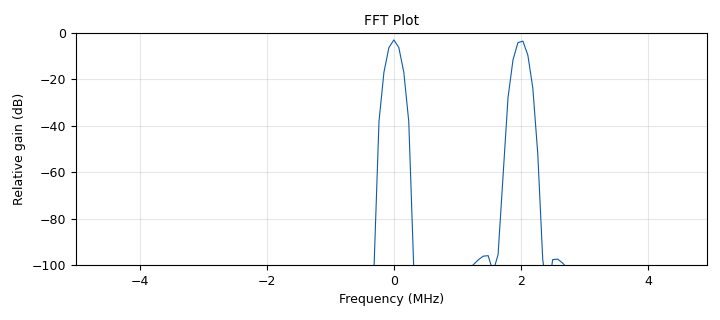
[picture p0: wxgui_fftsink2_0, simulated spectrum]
<?xml version='1.0' encoding='utf-8'?>
<?grc format='1' created='3.7.5'?>
<flow_graph>
<block>
<key>options</key>
<param><key>id</key><value>top_block</value></param>
<param><key>generate_options</key><value>wx_gui</value></param>
<param><key>category</key><value>Custom</value></param>
</block>
<block>
<key>variable</key>
<param><key>id</key><value>samp_rate</value></param>
<param><key>value</key><value>10e6</value></param>
</block>
<block>
<key>analog_sig_source_x</key>
<param><key>id</key><value>analog_sig_source_x_0</value></param>
<param><key>type</key><value>complex</value></param>
<param><key>samp_rate</key><value>samp_rate</value></param>
<param><key>waveform</key><value>analog.GR_COS_WAVE</value></param>
<param><key>freq</key><value>int_freq</value></param>
<param><key>amp</key><value>1</value></param>
<param><key>offset</key><value>0</value></param>
</block>
<block>
<key>analog_sig_source_x</key>
<param><key>id</key><value>analog_sig_source_x_0_0</value></param>
<param><key>type</key><value>complex</value></param>
<param><key>samp_rate</key><value>samp_rate</value></param>
<param><key>waveform</key><value>analog.GR_COS_WAVE</value></param>
<param><key>freq</key><value>100e6</value></param>
<param><key>amp</key><value>1</value></param>
<param><key>offset</key><value>0</value></param>
</block>
<block>
<key>blocks_multiply_xx</key>
<param><key>id</key><value>blocks_multiply_xx_0</value></param>
<param><key>type</key><value>complex</value></param>
</block>
<block>
<key>analog_sig_source_x</key>
<param><key>id</key><value>analog_sig_source_x_0_0_0</value></param>
<param><key>type</key><value>complex</value></param>
<param><key>samp_rate</key><value>samp_rate</value></param>
<param><key>waveform</key><value>analog.GR_COS_WAVE</value></param>
<param><key>freq</key><value>102e6</value></param>
<param><key>amp</key><value>1</value></param>
<param><key>offset</key><value>0</value></param>
</block>
<block>
<key>blocks_add_xx</key>
<param><key>id</key><value>blocks_add_xx_0</value></param>
<param><key>type</key><value>complex</value></param>
</block>
<block>
<key>blocks_throttle</key>
<param><key>id</key><value>blocks_throttle_0</value></param>
<param><key>type</key><value>complex</value></param>
<param><key>samples_per_second</key><value>samp_rate</value></param>
</block>
<block>
<key>wxgui_fftsink2</key>
<param><key>id</key><value>wxgui_fftsink2_0</value></param>
<param><key>type</key><value>complex</value></param>
<param><key>title</key><value>FFT Plot</value></param>
<param><key>samp_rate</key><value>samp_rate</value></param>
<param><key>baseband_freq</key><value>0</value></param>
<param><key>y_per_div</key><value>10</value></param>
<param><key>y_divs</key><value>10</value></param>
<param><key>ref_level</key><value>0</value></param>
<param><key>ref_scale</key><value>2.0</value></param>
<param><key>fft_size</key><value>128</value></param>
<param><key>fft_rate</key><value>15</value></param>
<param><key>peak_hold</key><value>False</value></param>
<param><key>average</key><value>False</value></param>
<param><key>avg_alpha</key><value>0</value></param>
<param><key>win</key><value>None</value></param>
<param><key>freqvar</key><value>None</value></param>
</block>
<block>
<key>variable_slider</key>
<param><key>id</key><value>int_freq</value></param>
<param><key>label</key><value></value></param>
<param><key>value</key><value>50</value></param>
<param><key>min</key><value>0</value></param>
<param><key>max</key><value>40e6</value></param>
<param><key>num_steps</key><value>100</value></param>
<param><key>style</key><value>wx.SL_HORIZONTAL</value></param>
<param><key>converver</key><value>float_converter</value></param>
</block>
<block>
<key>band_pass_filter</key>
<param><key>id</key><value>band_pass_filter_0</value></param>
<param><key>type</key><value>fir_filter_ccf</value></param>
<param><key>decim</key><value>1</value></param>
<param><key>gain</key><value>1</value></param>
<param><key>samp_rate</key><value>samp_rate</value></param>
<param><key>low_cutoff_freq</key><value></value></param>
<param><key>high_cutoff_freq</key><value></value></param>
<param><key>width</key><value></value></param>
<param><key>win</key><value>firdes.WIN_HAMMING</value></param>
</block>
<connection><source_block_id>analog_sig_source_x_0</source_block_id><sink_block_id>blocks_multiply_xx_0</sink_block_id><source_key>0</source_key><sink_key>1</sink_key></connection>
<connection><source_block_id>analog_sig_source_x_0_0</source_block_id><sink_block_id>blocks_multiply_xx_0</sink_block_id><source_key>0</source_key><sink_key>0</sink_key></connection>
<connection><source_block_id>blocks_throttle_0</source_block_id><sink_block_id>wxgui_fftsink2_0</sink_block_id><source_key>0</source_key><sink_key>0</sink_key></connection>
<connection><source_block_id>blocks_multiply_xx_0</source_block_id><sink_block_id>blocks_add_xx_0</sink_block_id><source_key>0</source_key><sink_key>1</sink_key></connection>
<connection><source_block_id>analog_sig_source_x_0_0_0</source_block_id><sink_block_id>blocks_add_xx_0</sink_block_id><source_key>0</source_key><sink_key>0</sink_key></connection>
<connection><source_block_id>blocks_add_xx_0</source_block_id><sink_block_id>blocks_throttle_0</sink_block_id><source_key>0</source_key><sink_key>0</sink_key></connection>
</flow_graph>
